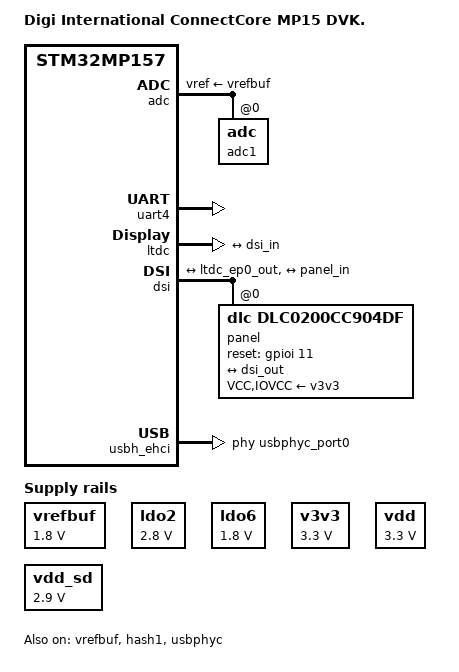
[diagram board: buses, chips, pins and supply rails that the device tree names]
 /*
 * Copyright 2022, Digi International Inc.
 *
 * Permission to use, copy, modify, and/or distribute this software for any
 * purpose with or without fee is hereby granted, provided that the above
 * copyright notice and this permission notice appear in all copies.
 * THE SOFTWARE IS PROVIDED "AS IS" AND THE AUTHOR DISCLAIMS ALL WARRANTIES
 * WITH REGARD TO THIS SOFTWARE INCLUDING ALL IMPLIED WARRANTIES OF
 * MERCHANTABILITY AND FITNESS. IN NO EVENT SHALL THE AUTHOR BE LIABLE FOR
 * ANY SPECIAL, DIRECT, INDIRECT, OR CONSEQUENTIAL DAMAGES OR ANY DAMAGES
 * WHATSOEVER RESULTING FROM LOSS OF USE, DATA OR PROFITS, WHETHER IN AN
 * ACTION OF CONTRACT, NEGLIGENCE OR OTHER TORTIOUS ACTION, ARISING OUT OF
 * OR IN CONNECTION WITH THE USE OR PERFORMANCE OF THIS SOFTWARE.
 */

/dts-v1/;

/* STM32MP157 CPU */
#include "stm32mp157.dtsi"
#include "stm32mp15xa.dtsi"
#include "stm32mp15-pinctrl.dtsi"
#include "stm32mp15xxac-pinctrl.dtsi"
/* Digi ConnectCore CCMP15 */
#include "ccmp15.dtsi"

/ {
	model = "Digi International ConnectCore MP15 DVK.";
	compatible = "digi,ccmp15-dvk", "digi,ccmp15", "digi,ccmp1", "st,stm32mp157";
	digi,machine,name = "ccmp157-dvk";

	chosen {
		stdout-path = "serial0:115200n8";
	};

	aliases {
		mmc1 = &sdmmc2; /* Micro SD */
		serial3 = &uart7;
	};

	usb_phy_tuning: usb-phy-tuning {
		st,hs-dc-level = <2>;
		st,fs-rftime-tuning;
		st,hs-rftime-reduction;
		st,hs-current-trim = <15>;
		st,hs-impedance-trim = <1>;
		st,squelch-level = <3>;
		st,hs-rx-offset = <2>;
		st,no-lsfs-sc;
	};
};

/*
 * Internal VREFBUF can be set to 2.5 V, 2.048 V, 1.8 V or 1.5 V which are output
 * at VREF+ pad.
 * If you plan to use an external voltage reference, disable vrefbuf and change
 * the ADC 'vref-supply' to the external regulator.
 */
&vrefbuf {
	regulator-min-microvolt = <1800000>;
	regulator-max-microvolt = <1800000>;
	status = "okay";
	regulator-always-on;
};

&adc {
	/* ANA0, ANA1 are dedicated pins and don't need pinctrl */
	vref-supply = <&vrefbuf>;
	status = "okay";

	adc1: adc@0 {
		st,adc-channels = <0 1>;
		/* 16.5 ck_cycles sampling time */
		st,min-sample-time-nsecs = <400>;
		status = "okay";
	};
};

/* Console */
&uart4 {
	pinctrl-names = "default", "sleep", "idle";
	pinctrl-0 = <&uart4_pins_a>;
	pinctrl-1 = <&uart4_sleep_pins_a>;
	pinctrl-2 = <&uart4_idle_pins_a>;
	/delete-property/dmas;
	/delete-property/dma-names;
	status = "okay";
};

&cpu1{
	cpu-supply = <&vddcore>;
};

&gpu {
	contiguous-area = <&gpu_reserved>;
};

/* 10/100 Ethernet */
&ethernet0 {
	status = "disabled";
	pinctrl-0 = <&ethernet0_rmii_pins_a>;
	pinctrl-1 = <&ethernet0_rmii_sleep_pins_a>;
	pinctrl-names = "default", "sleep";
	phy-mode = "rmii";
	max-speed = <100>;
	phy-handle = <&phy0>;
	st,eth-ref-clk-sel = <1>;
	st,ext-phyclk = <1>;

	mdio0 {
		#address-cells = <1>;
		#size-cells = <0>;
		compatible = "snps,dwmac-mdio";

		phy0: ethernet-phy@0 {
			reg = <0>;
			compatible = "ethernet-phy-id0007.c0f0"; /* PHY ID for SMSC LAN8720Ai */
			smsc,disable-energy-detect;
		};
	};
};

&hash1 {
	status = "okay";
};

&ldo2 {
	regulator-min-microvolt = <2800000>;
	regulator-max-microvolt = <2800000>;
	regulator-always-on;
};

&ldo6 {
	regulator-min-microvolt = <1800000>;
	regulator-max-microvolt = <1800000>;
	regulator-always-on;
};

/* Display Controller for MIPI-DSI to HDMI */
&ltdc {
	status = "okay";

	port {
		ltdc_ep0_out: endpoint {
			remote-endpoint = <&dsi_in>;
		};
	};
};

&dsi {
	#address-cells = <1>;
	#size-cells = <0>;
	status = "okay";

	ports {
		#address-cells = <1>;
		#size-cells = <0>;

		port@0 {
			reg = <0>;
			dsi_in: endpoint {
				remote-endpoint = <&ltdc_ep0_out>;
			};
		};

		port@1 {
			reg = <1>;
			dsi_out: endpoint {
				remote-endpoint = <&panel_in>;
			};
		};

	};

	panel@0 {
		compatible = "dlc,dlc0200cc904df";
		reg = <0>;
		VCC-supply = <&v3v3>;
		IOVCC-supply = <&v3v3>;
		reset-gpios = <&gpioi 11 GPIO_ACTIVE_HIGH>; /* LTDC_G6 */
		status = "okay";

		port {
			panel_in: endpoint {
				remote-endpoint = <&dsi_out>;
			};
		};
	};

};

&usbh_ehci {
	phys = <&usbphyc_port0>;
	phy-names = "usb";
	status = "okay";
};

&usbphyc {
	status = "okay";
};

&usbphyc_port0 {
	phy-supply = <&vdd_usb>;
	st,phy-tuning = <&usb_phy_tuning>;
};

&v3v3 {
	regulator-min-microvolt = <3300000>;
	regulator-max-microvolt = <3300000>;
	regulator-always-on;
};

&vbus_otg {
	regulator-always-on;
};

&vbus_sw {
	regulator-always-on;
};

&vdd {
	regulator-min-microvolt = <3300000>;
	regulator-max-microvolt = <3300000>;
	regulator-always-on;
};

&vdd_sd {
	regulator-min-microvolt = <2900000>;
	regulator-max-microvolt = <2900000>;
	regulator-always-on;
};
